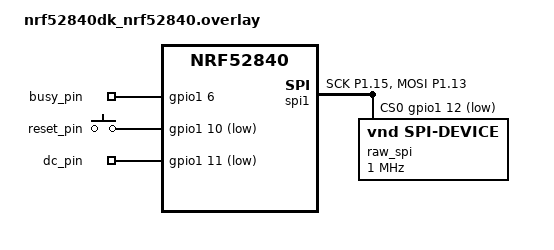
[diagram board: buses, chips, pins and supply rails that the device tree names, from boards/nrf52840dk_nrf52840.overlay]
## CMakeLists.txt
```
cmake_minimum_required(VERSION 3.20.0)
find_package(Zephyr REQUIRED HINTS $ENV{ZEPHYR_BASE})

project(epaper-hello-world)

target_sources(app PRIVATE
	src/main.c
	src/epd_driver.c
	src/epd_graphics.c
	src/display_lib.c
	src/cfb_font_digits_3056.c
)
```

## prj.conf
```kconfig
# set SPI
CONFIG_SPI=y

# display driver
CONFIG_DISPLAY=y
CONFIG_SSD16XX=y

# character framebuffer
CONFIG_CHARACTER_FRAMEBUFFER=y
CONFIG_CHARACTER_FRAMEBUFFER_USE_DEFAULT_FONTS=y # keep defaults alongside custom Barlow Condensed 30x56 (image-based)

CONFIG_MAIN_STACK_SIZE=4096
CONFIG_SYSTEM_WORKQUEUE_STACK_SIZE=2048
CONFIG_HEAP_MEM_POOL_SIZE=8192

# enable logging for debugging
CONFIG_LOG=y
CONFIG_LOG_DEFAULT_LEVEL=3
```

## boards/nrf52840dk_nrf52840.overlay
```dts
&arduino_spi {
    status = "disabled";
};

&pinctrl {
    spi1_default: spi1_default {
        group1 {
            psels = <NRF_PSEL(SPIM_SCK, 1, 15)>,
                    <NRF_PSEL(SPIM_MOSI, 1, 13)>;
        };
    };

    spi1_sleep: spi1_sleep {
        group1 {
            psels = <NRF_PSEL(SPIM_SCK, 1, 15)>,
                    <NRF_PSEL(SPIM_MOSI, 1, 13)>;
        };
    };
};

&spi1 {
    status = "okay";
    pinctrl-0 = <&spi1_default>;
    pinctrl-1 = <&spi1_sleep>;
    pinctrl-names = "default", "sleep";
    cs-gpios = <&gpio1 12 GPIO_ACTIVE_LOW>; /* D10 */

    /* 添加一个通用 SPI 设备用于手动控制 */
    raw_spi: spi-dev@0 {
        compatible = "vnd,spi-device";
        reg = <0>;
        spi-max-frequency = <1000000>; /* 1MHz */
    };
};

/ {
    /* 定义一个专用节点来获取 GPIO，避开驱动绑定 */
    raw_epd_gpio {
        compatible = "gpio-keys";
        busy_pin: busy {
            gpios = <&gpio1 6 (GPIO_ACTIVE_HIGH | GPIO_PULL_DOWN)>;
        };
        reset_pin: reset {
            gpios = <&gpio1 10 GPIO_ACTIVE_LOW>; /* D8 */
        };
        dc_pin: dc {
            gpios = <&gpio1 11 GPIO_ACTIVE_LOW>; /* D9 */
        };
    };
};
```

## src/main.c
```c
#include <zephyr/kernel.h>
#include <zephyr/device.h>
#include <zephyr/logging/log.h>
#include <zephyr/display/cfb.h>
#include <stdio.h>

#include "epd_graphics.h"
#include "display_lib.h"

LOG_MODULE_REGISTER(main, LOG_LEVEL_DBG);

/* --- Main Application --- */

int main(void)
{
	const struct device *dev = device_get_binding(CUSTOM_EPD_LABEL);

	LOG_INF("Zephyr CFB E-Paper Test");

	if (display_lib_init(dev) != 0) {
		return 0;
	}

	LOG_INF("Drawing text with CFB...");

	int font_count = cfb_get_numof_fonts(dev);
	int best_idx = -1;
	uint8_t best_w = 0;
	uint8_t best_h = 0;

	for (int i = 0; i < font_count; i++) {
		uint8_t fw = 0;
		uint8_t fh = 0;

		if (cfb_get_font_size(dev, i, &fw, &fh) == 0) {
			if (fh > best_h) {
				best_idx = i;
				best_w = fw;
				best_h = fh;
			}
		}
	}

	if (best_idx < 0 || display_set_font(dev, best_idx) != 0) {
		LOG_WRN("No usable CFB fonts found");
		return 0;
	}

	LOG_INF("Using font index %d (%ux%u)", best_idx, best_w, best_h);

	// int seconds = (12 * 3600) + (34 * 60);
	int seconds = 0;
	int duration_in_seconds = 60 * 60; // 60 minutes
	while (1) {
		char time_str[6];
		int hours = (seconds / 3600) % 24;
		int minutes = (seconds / 60) % 60;

		snprintf(time_str, sizeof(time_str), "%02d:%02d", hours, minutes);

		cfb_framebuffer_clear(dev, false);
		/* Align to 8-pixel boundary to avoid partial glyph clipping */
		display_print(dev, time_str, 50, 40);
		display_flush(dev);

		seconds += duration_in_seconds;
		k_sleep(K_SECONDS(duration_in_seconds));
	}

	return 0;
}
```

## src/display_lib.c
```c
/* src/display_lib.c */
#include <zephyr/kernel.h>
#include <zephyr/drivers/display.h>
#include <zephyr/display/cfb.h>
#include <zephyr/logging/log.h>
#include "display_lib.h"

LOG_MODULE_REGISTER(display_lib, LOG_LEVEL_INF);

/**
 * @brief Initialize the display library.
 *
 * @details This function must be called before any other display_lib functions.
 * It performs the following steps:
 * - Verifies that the display device is ready.
 * - Sets the pixel format to monochrome.
 * - Initializes the Character Framebuffer (CFB) subsystem.
 * - Clears the framebuffer.
 * - Sets the default font.
 *
 * @usage
 * @code
 * #include "display_lib.h"
 * #include "epd_graphics.h" // For CUSTOM_EPD_LABEL
 *
 * void main(void)
 * {
 *     const struct device *dev = device_get_binding(CUSTOM_EPD_LABEL);
 *     if (display_lib_init(dev) != 0) {
 *         // Handle initialization failure
 *         return;
 *     }
 *
 *     display_print(dev, "Ready!", 0, 0);
 *     display_flush(dev);
 * }
 * @endcode
 *
 * @param dev Pointer to the display device instance to initialize.
 *
 * @return 0 on success.
 * @retval -ENODEV If the display device is not ready.
 * @retval -EIO If setting pixel format or initializing the framebuffer fails.
 */
int display_lib_init(const struct device *dev)
{
	if (!device_is_ready(dev)) {
		LOG_ERR("Display device not ready");
		return -ENODEV;
	}

	if (display_set_pixel_format(dev, PIXEL_FORMAT_MONO10) != 0) {
		LOG_ERR("Failed to set required pixel format");
		return -EIO;
	}

	if (cfb_framebuffer_init(dev)) {
		LOG_ERR("Framebuffer initialization failed!");
		return -EIO;
	}

	cfb_framebuffer_clear(dev, false);

	/* Use default font (index 0) */
	if (cfb_framebuffer_set_font(dev, 0)) {
		LOG_WRN("Could not set font, CFB might not have fonts enabled in config");
	}

	return 0;
}

void display_print(const struct device *dev, const char *str, uint16_t x, uint16_t y)
{
	cfb_print(dev, str, x, y);
}

int display_set_font(const struct device *dev, uint8_t font_idx)
{
	return cfb_framebuffer_set_font(dev, font_idx);
}

void display_draw_rect(const struct device *dev, uint16_t x, uint16_t y, uint16_t w, uint16_t h)
{
	struct cfb_position start = {x, y};
	struct cfb_position end = {x + w, y + h};
	cfb_draw_rect(dev, &start, &end);
}

void display_flush(const struct device *dev)
{
	LOG_INF("Finalizing...");
	cfb_framebuffer_finalize(dev);
}
```

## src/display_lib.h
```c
/* src/display_lib.h */
#ifndef DISPLAY_LIB_H
#define DISPLAY_LIB_H

#include <zephyr/device.h>
#include <stdint.h>

/**
 * @brief Initialize the display library.
 *
 * This function must be called before any other display_lib functions.
 * It performs the following steps:
 * - Verifies that the display device is ready.
 * - Sets the pixel format to monochrome.
 * - Initializes the Character Framebuffer (CFB) subsystem.
 * - Clears the framebuffer.
 * - Sets the default font.
 *
 * @param dev Pointer to the display device instance to initialize.
 *
 * @return 0 on success.
 * @retval -ENODEV If the display device is not ready.
 * @retval -EIO If setting pixel format or initializing the framebuffer fails.
 */
int display_lib_init(const struct device *dev);

/**
 * @brief Print text to the display buffer
 * @param dev Display device instance
 * @param str Text string to print
 * @param x X coordinate
 * @param y Y coordinate
 */
void display_print(const struct device *dev, const char *str, uint16_t x, uint16_t y);

/**
 * @brief Set the active CFB font by index
 * @param dev Display device instance
 * @param font_idx Font index as configured in Zephyr
 *
 * @return 0 on success.
 * @retval -ENOENT If the font index is not available.
 */
int display_set_font(const struct device *dev, uint8_t font_idx);

/**
 * @brief Draw a rectangle to the display buffer
 * @param dev Display device instance
 * @param x X coordinate of top-left corner
 * @param y Y coordinate of top-left corner
 * @param w Width
 * @param h Height
 */
void display_draw_rect(const struct device *dev, uint16_t x, uint16_t y, uint16_t w, uint16_t h);

/**
 * @brief Flush the display buffer to the hardware (trigger refresh)
 * @param dev Display device instance
 */
void display_flush(const struct device *dev);

#endif /* DISPLAY_LIB_H */
```

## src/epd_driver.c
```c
/* src/epd_driver.c */
#include <zephyr/kernel.h>
#include <zephyr/device.h>
#include <zephyr/drivers/gpio.h>
#include <zephyr/drivers/spi.h>
#include <zephyr/logging/log.h>
#include "epd_driver.h"

LOG_MODULE_REGISTER(epd_driver, LOG_LEVEL_INF);

/* SPI configuration */
#define SPI_OP  (SPI_OP_MODE_MASTER | SPI_WORD_SET(8))

static const struct spi_dt_spec spi_dev = SPI_DT_SPEC_GET(DT_NODELABEL(raw_spi), SPI_OP, 0);
static const struct gpio_dt_spec busy_gpio = GPIO_DT_SPEC_GET(DT_NODELABEL(busy_pin), gpios);
static const struct gpio_dt_spec rst_gpio = GPIO_DT_SPEC_GET(DT_NODELABEL(reset_pin), gpios);
static const struct gpio_dt_spec dc_gpio = GPIO_DT_SPEC_GET(DT_NODELABEL(dc_pin), gpios);

static void epd_reset(void)
{
    if (!gpio_is_ready_dt(&rst_gpio)) return;
    
    gpio_pin_set_dt(&rst_gpio, 1); // Active (Low)
    k_msleep(20);
    gpio_pin_set_dt(&rst_gpio, 0); // Inactive (High)
    k_msleep(20);
}

static void epd_send_cmd(uint8_t cmd)
{
    /* DC Low = Command */
    gpio_pin_set_dt(&dc_gpio, 1); 
    struct spi_buf buf = {.buf = &cmd, .len = 1};
    struct spi_buf_set buf_set = {.buffers = &buf, .count = 1};
    spi_write_dt(&spi_dev, &buf_set);
}

static void epd_send_data(uint8_t data)
{
    /* DC High = Data */
    gpio_pin_set_dt(&dc_gpio, 0);
    struct spi_buf buf = {.buf = &data, .len = 1};
    struct spi_buf_set buf_set = {.buffers = &buf, .count = 1};
    spi_write_dt(&spi_dev, &buf_set);
}

static void epd_wait_busy(void)
{
    LOG_INF("Waiting for BUSY...");
    int timeout = 500; // 5 seconds
    while (gpio_pin_get_dt(&busy_gpio) == 1) {
        k_msleep(10);
        if (--timeout == 0) {
            LOG_ERR("BUSY Timeout!");
            break;
        }
    }
    LOG_INF("BUSY Released.");
}

int epd_hardware_init(void)
{
    if (!spi_is_ready_dt(&spi_dev)) {
        LOG_ERR("SPI device not ready");
        return -ENODEV;
    }
    
    if (!gpio_is_ready_dt(&busy_gpio) || !gpio_is_ready_dt(&rst_gpio) || !gpio_is_ready_dt(&dc_gpio)) {
        LOG_ERR("GPIO devices not ready");
        return -ENODEV;
    }

    gpio_pin_configure_dt(&busy_gpio, GPIO_INPUT);
    gpio_pin_configure_dt(&rst_gpio, GPIO_OUTPUT_ACTIVE);
    gpio_pin_configure_dt(&dc_gpio, GPIO_OUTPUT);
    
    return 0;
}

void epd_init_v4(void)
{
    epd_reset();
    epd_wait_busy();

    LOG_INF("Sending Init Commands...");
    
    epd_send_cmd(0x12); // SW Reset
    epd_wait_busy();

    epd_send_cmd(0x01); // Driver output control
    epd_send_data(0xF9);
    epd_send_data(0x00);
    epd_send_data(0x00);

    epd_send_cmd(0x11); // Data entry mode
    epd_send_data(0x03); // X increment, Y increment

    epd_send_cmd(0x3C); // BorderWavefrom
    epd_send_data(0x05);

    epd_send_cmd(0x18); // Temp Sensor
    epd_send_data(0x80); // Internal

    /* Soft Start Patch for V4 */
    LOG_INF("Sending Soft Start Patch...");
    epd_send_cmd(0x0C); 
    epd_send_data(0xAE);
    epd_send_data(0xC7);
    epd_send_data(0xC3);
    epd_send_data(0xC0);
    epd_send_data(0x80); 

    epd_send_cmd(0x44); // Set Ram-X
    epd_send_data(0x00);
    epd_send_data(0x0F); // 128/8 - 1 = 15

    epd_send_cmd(0x45); // Set Ram-Y
    epd_send_data(0x00); // Start 0
    epd_send_data(0x00);
    epd_send_data(0xF9); // End 249
    epd_send_data(0x00);
}

void epd_display_framebuffer(const uint8_t *buffer, size_t size)
{
    /* Set counters to 0,0 */
    epd_send_cmd(0x4E); 
    epd_send_data(0x00);
    epd_send_cmd(0x4F); 
    epd_send_data(0x00);
    epd_send_data(0x00);
    
    epd_send_cmd(0x24); // Write RAM
    for (size_t i = 0; i < size; i++) {
        epd_send_data(buffer[i]);
    }
    
    LOG_INF("Activating Display...");
    epd_send_cmd(0x22); // Display Update Control 2
    epd_send_data(0xF7); // Load LUT from OTP + Display
    
    epd_send_cmd(0x20); // Master Activation
    epd_wait_busy();
}
```

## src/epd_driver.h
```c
/* src/epd_driver.h */
#ifndef EPD_DRIVER_H
#define EPD_DRIVER_H

#include <stdint.h>
#include <stddef.h>

/* Display resolution */
#define EPD_WIDTH       128
#define EPD_HEIGHT      250
#define EPD_WIDTH_BYTES (EPD_WIDTH / 8)

/**
 * @brief Initialize SPI and GPIO hardware
 * @return 0 on success, negative errno on failure
 */
int epd_hardware_init(void);

/**
 * @brief Run the initialization sequence (Waveshare V4 specific)
 */
void epd_init_v4(void);

/**
 * @brief Send framebuffer to display and trigger refresh
 * @param buffer Pointer to the framebuffer data
 * @param size Size of the buffer in bytes
 */
void epd_display_framebuffer(const uint8_t *buffer, size_t size);

#endif /* EPD_DRIVER_H */
```

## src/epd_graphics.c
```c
/* src/epd_graphics.c */
#include <string.h>
#include <zephyr/kernel.h>
#include <zephyr/device.h>
#include <zephyr/drivers/display.h>
#include <zephyr/logging/log.h>
#include "epd_driver.h"
#include "epd_graphics.h"

LOG_MODULE_REGISTER(epd_graphics, LOG_LEVEL_INF);

/* Logical Landscape Resolution */
#define LOGICAL_WIDTH  248 /* Multiple of 8, fits in 250 */
#define LOGICAL_HEIGHT 128

/* --- Zephyr Display Driver Wrapper --- */
/* This wrapper allows the CFB subsystem to use our manual EPD driver */

static int custom_epd_blanking_off(const struct device *dev)
{
	return 0;
}

static int custom_epd_blanking_on(const struct device *dev)
{
	return 0;
}

static uint8_t rotated_buffer[EPD_WIDTH_BYTES * EPD_HEIGHT];

static int custom_epd_write(const struct device *dev, const uint16_t x, const uint16_t y,
			    const struct display_buffer_descriptor *desc, const void *buf)
{
	const uint8_t *src = buf;
	uint8_t *dst = rotated_buffer;
	
	/* Clear destination buffer */
	memset(dst, 0, sizeof(rotated_buffer));

	/*
	 * Rotate 90 degrees CW
	 * Logical (Landscape) -> Physical (Portrait)
	 * Logical X [0..247] -> Physical Y [249..2]
	 * Logical Y [0..127] -> Physical X [0..127]
	 *
	 * Source buffer is MONO10 (vertical tiled, MSB first).
	 */
	for (int ly = 0; ly < LOGICAL_HEIGHT; ly++) {
		for (int lx = 0; lx < LOGICAL_WIDTH; lx++) {
			/* Get pixel from Source (Logical), vertical tiled */
			size_t src_index = (ly / 8) * LOGICAL_WIDTH + lx;
			uint8_t src_byte = src[src_index];
			if (src_byte & (0x80 >> (ly % 8))) {
				/* Map to Destination (Physical) */
				int px = ly;
				int py = (EPD_HEIGHT - 1) - lx;

				dst[(py * EPD_WIDTH_BYTES) + (px / 8)] |= (0x80 >> (px % 8));
			}
		}
	}

	/* Panel polarity is inverted vs CFB: flip bits to get white background. */
	for (size_t i = 0; i < sizeof(rotated_buffer); i++) {
		dst[i] ^= 0xFF;
	}

	epd_display_framebuffer(rotated_buffer, sizeof(rotated_buffer));
	return 0;
}

static int custom_epd_read(const struct device *dev, const uint16_t x, const uint16_t y,
			   const struct display_buffer_descriptor *desc, void *buf)
{
	return -ENOTSUP;
}

static void custom_epd_get_capabilities(const struct device *dev,
					struct display_capabilities *caps)
{
	caps->x_resolution = LOGICAL_WIDTH;
	caps->y_resolution = LOGICAL_HEIGHT;
	caps->supported_pixel_formats = PIXEL_FORMAT_MONO10;
	caps->current_pixel_format = PIXEL_FORMAT_MONO10;
	caps->current_orientation = DISPLAY_ORIENTATION_NORMAL;
	caps->screen_info = SCREEN_INFO_MONO_MSB_FIRST | SCREEN_INFO_MONO_VTILED;
}

static int custom_epd_set_pixel_format(const struct device *dev,
				       const enum display_pixel_format pf)
{
	if (pf == PIXEL_FORMAT_MONO10) {
		return 0;
	}
	return -ENOTSUP;
}

static const struct display_driver_api custom_epd_api = {
	.blanking_on = custom_epd_blanking_on,
	.blanking_off = custom_epd_blanking_off,
	.write = custom_epd_write,
	.read = custom_epd_read,
	.get_capabilities = custom_epd_get_capabilities,
	.set_pixel_format = custom_epd_set_pixel_format,
};

static int custom_epd_init(const struct device *dev)
{
	int err;

	/* Initialize hardware (SPI, GPIO) */
	err = epd_hardware_init();
	if (err) {
		return err;
	}

	/* Run the specific V4 initialization sequence */
	epd_init_v4();

	return 0;
}

/* Define the device instance */
DEVICE_DEFINE(custom_epd, CUSTOM_EPD_LABEL, &custom_epd_init, NULL, NULL, NULL,
	      POST_KERNEL, CONFIG_APPLICATION_INIT_PRIORITY, &custom_epd_api);
```

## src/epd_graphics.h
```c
/* src/epd_graphics.h */
#ifndef EPD_GRAPHICS_H
#define EPD_GRAPHICS_H

#define CUSTOM_EPD_LABEL "CUSTOM_EPD"

#endif /* EPD_GRAPHICS_H */
```
